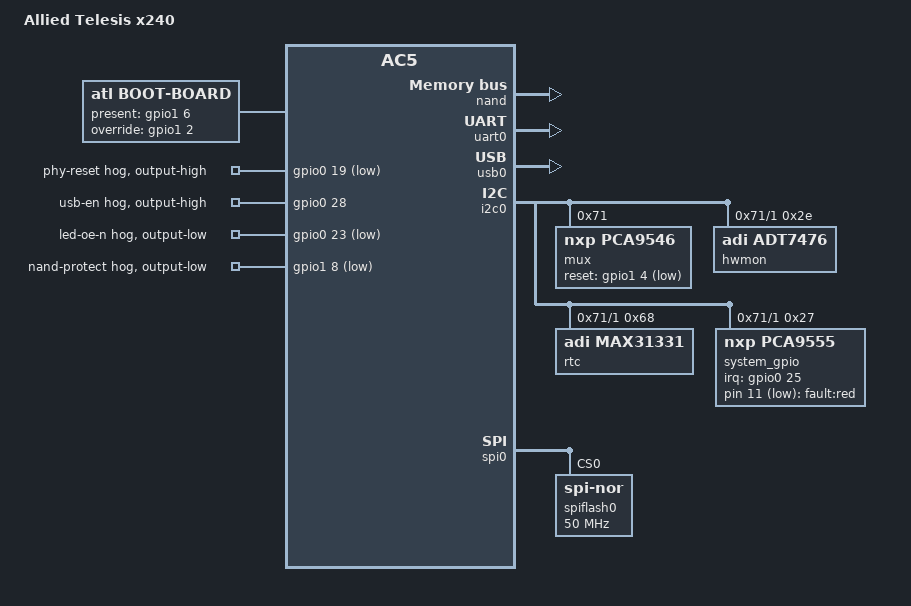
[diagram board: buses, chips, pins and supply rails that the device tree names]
// SPDX-License-Identifier: (GPL-2.0+ OR MIT)

/dts-v1/;

#include <dt-bindings/gpio/gpio.h>
#include <dt-bindings/interrupt-controller/irq.h>
#include "ac5-98dx35xx.dtsi"

/ {
	model = "Allied Telesis x240";
	compatible = "alliedtelesis,x240", "marvell,ac5x", "marvell,ac5";

	aliases {
		serial0 = &uart0;
		spiflash0 = &spiflash0;
		gpio0 = &gpio0;
		gpio1 = &gpio1;
		spi0 = &spi0;
		i2c0 = &i2c0;
		usb0 = &usb0;
		pinctrl0 = &pinctrl0;
	};

	chosen {
		stdout-path = "serial0:115200n8";
	};

	boot-board {
		compatible = "atl,boot-board";
		present-gpio = <&gpio1 6 GPIO_ACTIVE_HIGH>;
		override-gpio = <&gpio1 2 GPIO_ACTIVE_HIGH>;
	};

	gpio-leds {
		compatible = "gpio-leds";

		fault {
			label = "fault:red";
			gpios = <&system_gpio 11 GPIO_ACTIVE_LOW>;
			default-state = "on";
		};
	};
};

&nand {
	pinctrl-names = "default";
	pinctrl-0 = <&nand_pins>;

	nand-ecc-strength = <4>;
	nand-ecc-step-size = <512>;
	status = "okay";

	partitions {
		compatible = "fixed-partitions";
		#address-cells = <1>;
		#size-cells = <1>;

		partition@user {
			reg = <0x00000000 0x10000000>;
			label = "user";
		};
	};
};

&uart0 {
	status = "okay";
};

&usb0 {
	status = "okay";
};

&i2c0 {
	status = "okay";

	mux@71 {
		#address-cells = <1>;
		#size-cells = <0>;
		compatible = "nxp,pca9546";
		reg = <0x71>;
		i2c-mux-idle-disconnect;
		reset-gpios = <&gpio1 4 GPIO_ACTIVE_LOW>;               /* MPP36 */
		status = "okay";

		i2c@1 {
			#address-cells = <1>;
			#size-cells = <0>;
			reg = <1>;

			hwmon@2e {
				compatible = "adi,adt7476";
				reg = <0x2e>;
			};

			rtc@68 {
				compatible = "adi,max31331";
				reg = <0x68>;
			};

			system_gpio: gpio@27 {
				compatible = "nxp,pca9555";
				gpio-controller;
				#gpio-cells= <2>;
				reg = <0x27>;
				interrupt-parent = <&gpio0>;
				interrupts = <25 IRQ_TYPE_LEVEL_LOW>;   /* MPP25 */
			};
		};
	};
};

&spi0 {
	status = "okay";
	spiflash0: flash@0 {
		compatible = "jedec,spi-nor";
		spi-max-frequency = <50000000>;
		spi-tx-bus-width = <1>; /* 1-single, 2-dual, 4-quad */
		spi-rx-bus-width = <1>; /* 1-single, 2-dual, 4-quad */
		reg = <0>;

		#address-cells = <1>;
		#size-cells = <1>;
	};
};

&gpio0 {
	phy-reset {
		gpio-hog;
		gpios = <19 GPIO_ACTIVE_LOW>;
		output-high;
		line-name = "phy-reset";
	};

	usb-en {
		gpio-hog;
		gpios = <28 GPIO_ACTIVE_HIGH>;
		output-high;
		line-name = "usb-en";
	};

	led-oe-n {
		gpio-hog;
		gpios = <23 GPIO_ACTIVE_LOW>;
		output-low;
		line-name = "led-oe-n";
	};
};

&gpio1 {
	nand-protect {
		gpio-hog;
		gpios = <8 GPIO_ACTIVE_LOW>;
		output-low;
		line-name = "nand-protect";
	};
};

&pinctrl0 {
	/*
	 * MPP Bus:              MPP#
	 * NF_IO                 [0-7]
	 * NF_Wen                [8]
	 * NF_ALE                [9]
	 * NF_CLE                [10]
	 * NF_Cen                [11]
	 * QSPI_SCK/SPI0_SCK     [12]
	 * QSPI_CSn/SPI0_CSn     [13]
	 * QSPI_DIO[0]/SPI0_MOSI [14]
	 * QSPI_DIO[1]/SPI0_MISO [15]
	 * NF_Ren                [16]
	 * NF_RBn                [17]
	 * WD_INTn               [18]
	 * B_B_OVRIDE_N          [19]
	 * GREEN_SW_N            [20]
	 * PHY_INT_N[0]          [21]
	 * SPI_WPn               [22]
	 * LED_OE_N              [23]
	 * USB_PWR_FLT_N         [24]
	 * SFP_INT_N             [25]
	 * I2C0_SCL              [26]
	 * I2C0_SDA              [27]
	 * USB_EN                [28]
	 * MONITOR_INT_N         [29]
	 * XM1_MDC               [30]
	 * XM1_MDIO              [31]
	 * UA0_RXD               [32]
	 * UA0_TXD               [33]
	 * PHY_RST0n             [34]
	 * TPM_INT_N             [35]
	 * I2CMUX_RESET_N        [36]
	 * SPI_SRAM_SEL_N        [37]
	 * B_B_PRESENT           [38]
	 * SPI_FLASH_SEL_N       [39]
	 * NF_WP_N               [40]
	 * POE_INT_N             [41]
	 * PoE_RST_N             [42]
	 * LED0_CLK              [43]
	 * LED0_STB              [44]
	 * LED0_DATA             [45]
	 */
	/*	     0    1    2    3    4    5    6    7    8    9 */
	pin-func = < 0xff 0xff 0xff 0xff 0xff 0xff 0xff 0xff 0xff 0xff
		     0xff 0xff 1    1    1    1    0xff 0xff 0    0
		     0    0    0    0    0    0    1    1    0    0
		     1    1    1    1    0    0    0    0    0    0
		     0    0    0    1    1    1    >;

	nand_pins: nand-pins {
		marvell,pins = <0 1 2 3 4 5 6 7 8 9 10 11 16 17>;
		marvell,function = <2>;
	};
};
